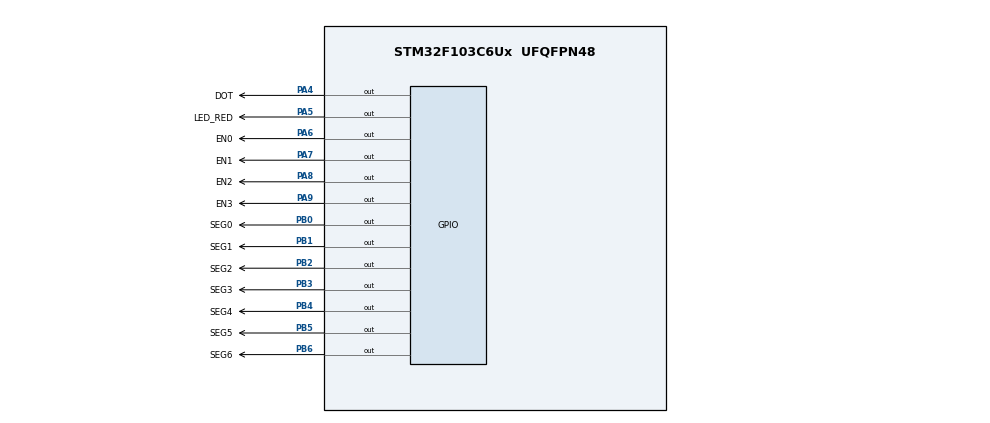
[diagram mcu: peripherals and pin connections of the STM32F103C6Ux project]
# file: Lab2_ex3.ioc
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Mcu.Family=STM32F1
Mcu.Name=STM32F103C6Ux
Mcu.Package=UFQFPN48
NVIC.PriorityGroup=NVIC_PRIORITYGROUP_4
NVIC.TIM2_IRQn=true\:0\:0\:false\:false\:true\:true\:true
PA4.GPIO_Label=DOT
PA4.Signal=GPIO_Output
PA5.GPIO_Label=LED_RED
PA5.Signal=GPIO_Output
PA6.GPIO_Label=EN0
PA6.Signal=GPIO_Output
PA7.GPIO_Label=EN1
PA7.Signal=GPIO_Output
PA8.GPIO_Label=EN2
PA8.Signal=GPIO_Output
PA9.GPIO_Label=EN3
PA9.Signal=GPIO_Output
PB0.GPIO_Label=SEG0
PB0.Signal=GPIO_Output
PB1.GPIO_Label=SEG1
PB1.Signal=GPIO_Output
PB2.GPIO_Label=SEG2
PB2.Signal=GPIO_Output
PB3.GPIO_Label=SEG3
PB3.Signal=GPIO_Output
PB4.GPIO_Label=SEG4
PB4.Signal=GPIO_Output
PB5.GPIO_Label=SEG5
PB5.Signal=GPIO_Output
PB6.GPIO_Label=SEG6
PB6.Signal=GPIO_Output
ProjectManager.HeapSize=0x200
ProjectManager.StackSize=0x400
ProjectManager.TargetToolchain=STM32CubeIDE
RCC.APB1Freq_Value=8000000
RCC.APB2Freq_Value=8000000
TIM2.Period=9
TIM2.Prescaler=7999
VP_SYS_VS_ND.Mode=No_Debug
VP_TIM2_VS_ClockSourceINT.Mode=Internal
board=custom

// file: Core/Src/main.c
/* USER CODE BEGIN Header */
/**
  ******************************************************************************
  * @file           : main.c
  * @brief          : Main program body
  ******************************************************************************
  * @attention
  *
  * <h2><center>&copy; Copyright (c) 2023 STMicroelectronics.
  * All rights reserved.</center></h2>
  *
  * This software component is licensed by ST under BSD 3-Clause license,
  * the "License"; You may not use this file except in compliance with the
  * License. You may obtain a copy of the License at:
  *                        opensource.org/licenses/BSD-3-Clause
  *
  ******************************************************************************
  */
/* USER CODE END Header */
#include "main.h"

TIM_HandleTypeDef htim2;

void SystemClock_Config(void);
static void MX_GPIO_Init(void);
static void MX_TIM2_Init(void);

/* USER CODE BEGIN 0 */
enum LED_ENABLE_STATE {
	LED_0_EN = 0,
	LED_1_EN = 1,
	LED_2_EN = 2,
	LED_3_EN = 3
};
enum LED_ENABLE_STATE curLedState = LED_0_EN;
void display7SEG(int num) {
	switch(num) {
		case 0:
			HAL_GPIO_WritePin(SEG0_GPIO_Port, SEG0_Pin, 0);
			HAL_GPIO_WritePin(SEG1_GPIO_Port, SEG1_Pin, 0);
			HAL_GPIO_WritePin(SEG2_GPIO_Port, SEG2_Pin, 0);
			HAL_GPIO_WritePin(SEG3_GPIO_Port, SEG3_Pin, 0);
			HAL_GPIO_WritePin(SEG4_GPIO_Port, SEG4_Pin, 0);
			HAL_GPIO_WritePin(SEG5_GPIO_Port, SEG5_Pin, 0);
			HAL_GPIO_WritePin(SEG6_GPIO_Port, SEG6_Pin, 1);
			break;
		case 1:
			HAL_GPIO_WritePin(SEG0_GPIO_Port, SEG0_Pin, 1);
			HAL_GPIO_WritePin(SEG1_GPIO_Port, SEG1_Pin, 0);
			HAL_GPIO_WritePin(SEG2_GPIO_Port, SEG2_Pin, 0);
			HAL_GPIO_WritePin(SEG3_GPIO_Port, SEG3_Pin, 1);
			HAL_GPIO_WritePin(SEG4_GPIO_Port, SEG4_Pin, 1);
			HAL_GPIO_WritePin(SEG5_GPIO_Port, SEG5_Pin, 1);
			HAL_GPIO_WritePin(SEG6_GPIO_Port, SEG6_Pin, 1);
			break;
		case 2:
			HAL_GPIO_WritePin(SEG0_GPIO_Port, SEG0_Pin, 0);
			HAL_GPIO_WritePin(SEG1_GPIO_Port, SEG1_Pin, 0);
			HAL_GPIO_WritePin(SEG2_GPIO_Port, SEG2_Pin, 1);
			HAL_GPIO_WritePin(SEG3_GPIO_Port, SEG3_Pin, 0);
			HAL_GPIO_WritePin(SEG4_GPIO_Port, SEG4_Pin, 0);
			HAL_GPIO_WritePin(SEG5_GPIO_Port, SEG5_Pin, 1);
			HAL_GPIO_WritePin(SEG6_GPIO_Port, SEG6_Pin, 0);
			break;
		case 3:
			HAL_GPIO_WritePin(SEG0_GPIO_Port, SEG0_Pin, 0);
			HAL_GPIO_WritePin(SEG1_GPIO_Port, SEG1_Pin, 0);
			HAL_GPIO_WritePin(SEG2_GPIO_Port, SEG2_Pin, 0);
			HAL_GPIO_WritePin(SEG3_GPIO_Port, SEG3_Pin, 0);
			HAL_GPIO_WritePin(SEG4_GPIO_Port, SEG4_Pin, 1);
			HAL_GPIO_WritePin(SEG5_GPIO_Port, SEG5_Pin, 1);
			HAL_GPIO_WritePin(SEG6_GPIO_Port, SEG6_Pin, 0);
			break;
		case 4:
			HAL_GPIO_WritePin(SEG0_GPIO_Port, SEG0_Pin, 1);
			HAL_GPIO_WritePin(SEG1_GPIO_Port, SEG1_Pin, 0);
			HAL_GPIO_WritePin(SEG2_GPIO_Port, SEG2_Pin, 0);
			HAL_GPIO_WritePin(SEG3_GPIO_Port, SEG3_Pin, 1);
			HAL_GPIO_WritePin(SEG4_GPIO_Port, SEG4_Pin, 1);
			HAL_GPIO_WritePin(SEG5_GPIO_Port, SEG5_Pin, 0);
			HAL_GPIO_WritePin(SEG6_GPIO_Port, SEG6_Pin, 0);
			break;
		case 5:
			HAL_GPIO_WritePin(SEG0_GPIO_Port, SEG0_Pin, 0);
			HAL_GPIO_WritePin(SEG1_GPIO_Port, SEG1_Pin, 1);
			HAL_GPIO_WritePin(SEG2_GPIO_Port, SEG2_Pin, 0);
			HAL_GPIO_WritePin(SEG3_GPIO_Port, SEG3_Pin, 0);
			HAL_GPIO_WritePin(SEG4_GPIO_Port, SEG4_Pin, 1);
			HAL_GPIO_WritePin(SEG5_GPIO_Port, SEG5_Pin, 0);
			HAL_GPIO_WritePin(SEG6_GPIO_Port, SEG6_Pin, 0);
			break;
		case 6:
			HAL_GPIO_WritePin(SEG0_GPIO_Port, SEG0_Pin, 0);
			HAL_GPIO_WritePin(SEG1_GPIO_Port, SEG1_Pin, 1);
			HAL_GPIO_WritePin(SEG2_GPIO_Port, SEG2_Pin, 0);
			HAL_GPIO_WritePin(SEG3_GPIO_Port, SEG3_Pin, 0);
			HAL_GPIO_WritePin(SEG4_GPIO_Port, SEG4_Pin, 0);
			HAL_GPIO_WritePin(SEG5_GPIO_Port, SEG5_Pin, 0);
			HAL_GPIO_WritePin(SEG6_GPIO_Port, SEG6_Pin, 0);
			break;
		case 7:
			HAL_GPIO_WritePin(SEG0_GPIO_Port, SEG0_Pin, 0);
			HAL_GPIO_WritePin(SEG1_GPIO_Port, SEG1_Pin, 0);
			HAL_GPIO_WritePin(SEG2_GPIO_Port, SEG2_Pin, 0);
			HAL_GPIO_WritePin(SEG3_GPIO_Port, SEG3_Pin, 1);
			HAL_GPIO_WritePin(SEG4_GPIO_Port, SEG4_Pin, 1);
			HAL_GPIO_WritePin(SEG5_GPIO_Port, SEG5_Pin, 1);
			HAL_GPIO_WritePin(SEG6_GPIO_Port, SEG6_Pin, 1);
			break;
		case 8:
			HAL_GPIO_WritePin(SEG0_GPIO_Port, SEG0_Pin, 0);
			HAL_GPIO_WritePin(SEG1_GPIO_Port, SEG1_Pin, 0);
			HAL_GPIO_WritePin(SEG2_GPIO_Port, SEG2_Pin, 0);
			HAL_GPIO_WritePin(SEG3_GPIO_Port, SEG3_Pin, 0);
			HAL_GPIO_WritePin(SEG4_GPIO_Port, SEG4_Pin, 0);
			HAL_GPIO_WritePin(SEG5_GPIO_Port, SEG5_Pin, 0);
			HAL_GPIO_WritePin(SEG6_GPIO_Port, SEG6_Pin, 0);
			break;
		case 9:
			HAL_GPIO_WritePin(SEG0_GPIO_Port, SEG0_Pin, 0);
			HAL_GPIO_WritePin(SEG1_GPIO_Port, SEG1_Pin, 0);
			HAL_GPIO_WritePin(SEG2_GPIO_Port, SEG2_Pin, 0);
			HAL_GPIO_WritePin(SEG3_GPIO_Port, SEG3_Pin, 0);
			HAL_GPIO_WritePin(SEG4_GPIO_Port, SEG4_Pin, 1);
			HAL_GPIO_WritePin(SEG5_GPIO_Port, SEG5_Pin, 0);
			HAL_GPIO_WritePin(SEG6_GPIO_Port, SEG6_Pin, 0);
			break;
		default:
			HAL_GPIO_WritePin(SEG0_GPIO_Port, SEG0_Pin, 0);
			HAL_GPIO_WritePin(SEG1_GPIO_Port, SEG1_Pin, 0);
			HAL_GPIO_WritePin(SEG2_GPIO_Port, SEG2_Pin, 0);
			HAL_GPIO_WritePin(SEG3_GPIO_Port, SEG3_Pin, 0);
			HAL_GPIO_WritePin(SEG4_GPIO_Port, SEG4_Pin, 0);
			HAL_GPIO_WritePin(SEG5_GPIO_Port, SEG5_Pin, 0);
			HAL_GPIO_WritePin(SEG6_GPIO_Port, SEG6_Pin, 0);
			break;

	}
}
const int MAX_LED = 4;
int index_led = 0;
int led_buffer[4] = {2, 7, 0, 2};
void update7SEG(int index){
    switch (index){
		  case 0:
			  HAL_GPIO_WritePin(EN3_GPIO_Port, EN3_Pin, 1);
			  display7SEG(led_buffer[0]);
			  HAL_GPIO_WritePin(EN0_GPIO_Port, EN0_Pin, 0);
			  HAL_GPIO_WritePin(EN1_GPIO_Port, EN1_Pin, 1);
			  HAL_GPIO_WritePin(EN2_GPIO_Port, EN2_Pin, 1);
			  break;
		  case 1:
	  		  HAL_GPIO_WritePin(EN0_GPIO_Port, EN0_Pin, 1);
	  		  display7SEG(led_buffer[1]);
	  		  HAL_GPIO_WritePin(EN1_GPIO_Port, EN1_Pin, 0);
	  		  HAL_GPIO_WritePin(EN2_GPIO_Port, EN2_Pin, 1);
	  		  HAL_GPIO_WritePin(EN3_GPIO_Port, EN3_Pin, 1);
	  		  break;
	  	  case 2:
	  		  HAL_GPIO_WritePin(EN0_GPIO_Port, EN0_Pin, 1);
	  		  HAL_GPIO_WritePin(EN1_GPIO_Port, EN1_Pin, 1);
	  		  display7SEG(led_buffer[2]);
	  		  HAL_GPIO_WritePin(EN2_GPIO_Port, EN2_Pin, 0);
	  		  HAL_GPIO_WritePin(EN3_GPIO_Port, EN3_Pin, 1);
	  		  break;
	  	  case 3:
	  		  HAL_GPIO_WritePin(EN0_GPIO_Port, EN0_Pin, 1);
	  		  HAL_GPIO_WritePin(EN1_GPIO_Port, EN1_Pin, 1);
	  		  HAL_GPIO_WritePin(EN2_GPIO_Port, EN2_Pin, 1);
	  		  display7SEG(led_buffer[3]);
	  		  HAL_GPIO_WritePin(EN3_GPIO_Port, EN3_Pin, 0);
	  		  break;
        default:
            break;
    }
}
/* USER CODE END 0 */

int main(void)
{

  /* MCU Configuration--------------------------------------------------------*/

  /* Reset of all peripherals, Initializes the Flash interface and the Systick. */
  HAL_Init();

  /* Configure the system clock */
  SystemClock_Config();

  /* Initialize all configured peripherals */
  MX_GPIO_Init();
  MX_TIM2_Init();
  /* USER CODE BEGIN 2 */
  HAL_TIM_Base_Start_IT(&htim2);
  /* USER CODE END 2 */

  /* Infinite loop */
  while (1)
  {
	  // Unit test
	  update7SEG(index_led);
  }
}

void SystemClock_Config(void)
{
  RCC_OscInitTypeDef RCC_OscInitStruct = {0};
  RCC_ClkInitTypeDef RCC_ClkInitStruct = {0};

  /** Initializes the RCC Oscillators according to the specified parameters
  * in the RCC_OscInitTypeDef structure.
  */
  RCC_OscInitStruct.OscillatorType = RCC_OSCILLATORTYPE_HSI;
  RCC_OscInitStruct.HSIState = RCC_HSI_ON;
  RCC_OscInitStruct.HSICalibrationValue = RCC_HSICALIBRATION_DEFAULT;
  RCC_OscInitStruct.PLL.PLLState = RCC_PLL_NONE;
  if (HAL_RCC_OscConfig(&RCC_OscInitStruct) != HAL_OK)
  {
    Error_Handler();
  }
  /** Initializes the CPU, AHB and APB buses clocks
  */
  RCC_ClkInitStruct.ClockType = RCC_CLOCKTYPE_HCLK|RCC_CLOCKTYPE_SYSCLK
                              |RCC_CLOCKTYPE_PCLK1|RCC_CLOCKTYPE_PCLK2;
  RCC_ClkInitStruct.SYSCLKSource = RCC_SYSCLKSOURCE_HSI;
  RCC_ClkInitStruct.AHBCLKDivider = RCC_SYSCLK_DIV1;
  RCC_ClkInitStruct.APB1CLKDivider = RCC_HCLK_DIV1;
  RCC_ClkInitStruct.APB2CLKDivider = RCC_HCLK_DIV1;

  if (HAL_RCC_ClockConfig(&RCC_ClkInitStruct, FLASH_LATENCY_0) != HAL_OK)
  {
    Error_Handler();
  }
}

static void MX_TIM2_Init(void)
{

  TIM_ClockConfigTypeDef sClockSourceConfig = {0};
  TIM_MasterConfigTypeDef sMasterConfig = {0};

  htim2.Instance = TIM2;
  htim2.Init.Prescaler = 7999;
  htim2.Init.CounterMode = TIM_COUNTERMODE_UP;
  htim2.Init.Period = 9;
  htim2.Init.ClockDivision = TIM_CLOCKDIVISION_DIV1;
  htim2.Init.AutoReloadPreload = TIM_AUTORELOAD_PRELOAD_DISABLE;
  if (HAL_TIM_Base_Init(&htim2) != HAL_OK)
  {
    Error_Handler();
  }
  sClockSourceConfig.ClockSource = TIM_CLOCKSOURCE_INTERNAL;
  if (HAL_TIM_ConfigClockSource(&htim2, &sClockSourceConfig) != HAL_OK)
  {
    Error_Handler();
  }
  sMasterConfig.MasterOutputTrigger = TIM_TRGO_RESET;
  sMasterConfig.MasterSlaveMode = TIM_MASTERSLAVEMODE_DISABLE;
  if (HAL_TIMEx_MasterConfigSynchronization(&htim2, &sMasterConfig) != HAL_OK)
  {
    Error_Handler();
  }

}

static void MX_GPIO_Init(void)
{
  GPIO_InitTypeDef GPIO_InitStruct = {0};

  /* GPIO Ports Clock Enable */
  __HAL_RCC_GPIOA_CLK_ENABLE();
  __HAL_RCC_GPIOB_CLK_ENABLE();

  /*Configure GPIO pin Output Level */
  HAL_GPIO_WritePin(GPIOA, DOT_Pin|LED_RED_Pin|EN0_Pin|EN1_Pin
                          |EN2_Pin|EN3_Pin, GPIO_PIN_RESET);

  /*Configure GPIO pin Output Level */
  HAL_GPIO_WritePin(GPIOB, SEG0_Pin|SEG1_Pin|SEG2_Pin|SEG3_Pin
                          |SEG4_Pin|SEG5_Pin|SEG6_Pin, GPIO_PIN_RESET);

  /*Configure GPIO pins : DOT_Pin LED_RED_Pin EN0_Pin EN1_Pin
                           EN2_Pin EN3_Pin */
  GPIO_InitStruct.Pin = DOT_Pin|LED_RED_Pin|EN0_Pin|EN1_Pin
                          |EN2_Pin|EN3_Pin;
  GPIO_InitStruct.Mode = GPIO_MODE_OUTPUT_PP;
  GPIO_InitStruct.Pull = GPIO_NOPULL;
  GPIO_InitStruct.Speed = GPIO_SPEED_FREQ_LOW;
  HAL_GPIO_Init(GPIOA, &GPIO_InitStruct);

  /*Configure GPIO pins : SEG0_Pin SEG1_Pin SEG2_Pin SEG3_Pin
                           SEG4_Pin SEG5_Pin SEG6_Pin */
  GPIO_InitStruct.Pin = SEG0_Pin|SEG1_Pin|SEG2_Pin|SEG3_Pin
                          |SEG4_Pin|SEG5_Pin|SEG6_Pin;
  GPIO_InitStruct.Mode = GPIO_MODE_OUTPUT_PP;
  GPIO_InitStruct.Pull = GPIO_NOPULL;
  GPIO_InitStruct.Speed = GPIO_SPEED_FREQ_LOW;
  HAL_GPIO_Init(GPIOB, &GPIO_InitStruct);

}

/* USER CODE BEGIN 4 */
int counter = 50;
int dot_counter = 100;
void HAL_TIM_PeriodElapsedCallback(TIM_HandleTypeDef *htim){
	counter--;
	dot_counter--;
	if(counter <= 0) {
		counter = 50;
		index_led = (index_led == MAX_LED - 1) ? 0 : index_led + 1;
	}
	if(dot_counter <= 0) {
		dot_counter = 100;
		if(HAL_GPIO_ReadPin(DOT_GPIO_Port, DOT_Pin)) {
			HAL_GPIO_WritePin(DOT_GPIO_Port, DOT_Pin, RESET);
		}
		else {
			HAL_GPIO_WritePin(DOT_GPIO_Port, DOT_Pin, SET);
		}
	}
}
/* USER CODE END 4 */

void Error_Handler(void)
{
  __disable_irq();
  while (1)
  {
  }
}

/************************ (C) COPYRIGHT STMicroelectronics *****END OF FILE****/
